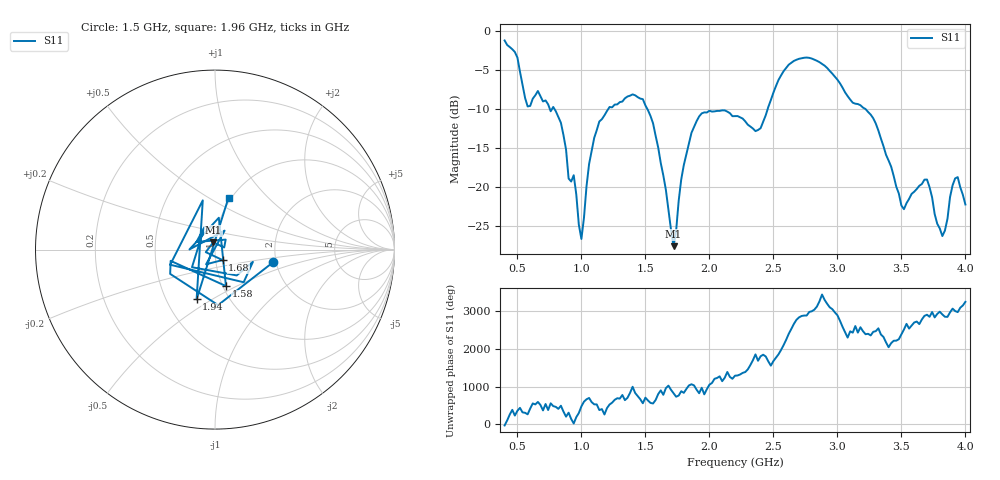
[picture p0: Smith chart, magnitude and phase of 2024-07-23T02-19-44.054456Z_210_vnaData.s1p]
!Created with skrf (http://scikit-rf.org).
# Hz S RI R 50.0
!freq ReS11 ImS11
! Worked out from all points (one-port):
!   181 points, 400 MHz to 4 GHz, reference 50 ohm
!   lowest |S11| = -27.6 dB at 1.72 GHz (marker M1), VSWR 1.09, Z = 48.9 + j3.99 ohm
!   |S11| at or under -10 dB: 788.4 MHz to 1.211 GHz (422.6 MHz wide, 42.3 % of centre); 1.514 GHz to 2.456 GHz (941.8 MHz wide, 47.4 % of centre); 3.216 GHz to end of sweep (the widest 3 of 4)
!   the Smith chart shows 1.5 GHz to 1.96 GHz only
!   S11 on the Smith chart (normalised r, x): 1.5 GHz: 1.93, -0.30; 1.58 GHz: 1.03, -0.44; 1.68 GHz: 1.08, -0.13; 1.94 GHz: 0.71, -0.43; 1.96 GHz: 0.97, +0.62
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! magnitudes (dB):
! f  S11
! 400 MHz  -1.3
! 500 MHz  -3.5
! 580 MHz  -9.7
! 660 MHz  -7.7
! 860 MHz  -13.4
! 940 MHz  -18.5
! 1 GHz  -26.6
! 1.1 GHz  -13.7
! 1.3 GHz  -9.2
! 1.5 GHz  -9.6
! 1.58 GHz  -13.5
! 1.68 GHz  -22.9
! 1.72 GHz  -27.6
! 1.76 GHz  -21.8
! 1.86 GHz  -13.1
! 1.94 GHz  -10.6
! 1.96 GHz  -10.5
! 2.2 GHz  -10.9
! 2.4 GHz  -12.5
! 2.66 GHz  -3.9
! 3.1 GHz  -8.8
! 3.28 GHz  -11.2
! 3.5 GHz  -22.4
! 3.56 GHz  -21.5
! 3.7 GHz  -19.0
! 3.82 GHz  -26.3
! 3.92 GHz  -18.9
! 4 GHz  -22.2
